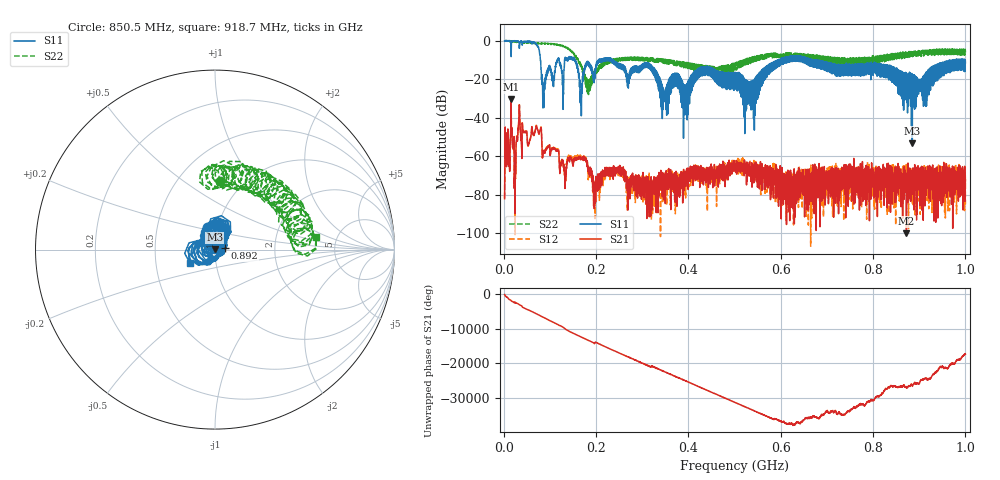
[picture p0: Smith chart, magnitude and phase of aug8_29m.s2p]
!Keysight Technologies N9923A: A.12.45
!Date: Friday, 08 August 2025 17:50:59
!Timezone: (UTC+08:00) Kuala Lumpur, Singapore
!Model: N9923A
!Serial: MY61181427
!GPS Latitude:
!GPS Longitude:
!GPS TimeStamp: 0001-01-01 00:00:00Z
!GPS Seconds Since Last Read: 0
!CHECKSUM:0625930024
!Correction: S11(ON U)S21(ON U)S12(ON U)S22(ON U)
!S2P File: Measurements:S11,S21,S12,S22:
# Hz S DB R 50
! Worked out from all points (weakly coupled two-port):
!   4001 points, 2 MHz to 1 GHz, reference 50 ohm
!   highest |S21| = -30.53 dB at 15.97 MHz (marker M1); lowest = -99.9 dB at 872.3 MHz (marker M2)
!   lowest |S11| = -53.3 dB at 885 MHz (marker M3), VSWR 1.00, Z = 49.9 + j0.169 ohm
!   |S11| at or under -10 dB: 155.2 MHz to 205.9 MHz (50.66 MHz wide, 28.1 % of centre); 236.1 MHz to 594.5 MHz (358.5 MHz wide, 86.3 % of centre); 675.7 MHz to 972.5 MHz (296.9 MHz wide, 36 % of centre) (the widest 3 of 95)
!   |S22| runs from -28.0 to 0.1 dB; largest |S21 - S12| = 0.0012
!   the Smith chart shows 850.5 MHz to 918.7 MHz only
!   S11 on the Smith chart (normalised r, x): 850.5 MHz: 0.89, +0.23; 892 MHz: 1.12, +0.02; 918.7 MHz: 0.75, -0.12
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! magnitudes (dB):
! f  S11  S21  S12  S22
! 2 MHz  -0.1  -82.0  -81.7  0.0
! 15.97 MHz  -6.9  -30.5  -30.4  -0.6
! 70.86 MHz  -2.0  -44.2  -43.9  -1.3
! 86.83 MHz  -34.8  -57.7  -57.3  -1.7
! 145.2 MHz  -8.4  -61.1  -60.4  -5.5
! 168.4 MHz  -35.9  -60.8  -60.8  -13.8
! 179.1 MHz  -11.4  -62.9  -63.3  -21.3
! 197.4 MHz  -19.6  -80.5  -73.7  -15.8
! 241.5 MHz  -12.6  -67.6  -67.4  -9.5
! 334.8 MHz  -19.1  -74.1  -73.2  -11.3
! 348.3 MHz  -31.4  -72.2  -70.3  -11.9
! 429.9 MHz  -13.8  -70.9  -69.6  -12.7
! 501 MHz  -16.4  -64.6  -66.4  -15.5
! 538.2 MHz  -23.5  -66.2  -66.5  -11.5
! 667.4 MHz  -10.2  -81.5  -68.8  -8.3
! 833.8 MHz  -18.8  -75.9  -77.3  -8.2
! 850.5 MHz  -17.5  -68.3  -71.7  -8.4
! 872.3 MHz  -16.7  -99.9  -68.8  -8.6
! 885 MHz  -53.3  -71.5  -84.4  -6.0
! 892 MHz  -24.9  -71.3  -70.8  -6.4
! 918.7 MHz  -16.0  -65.0  -75.9  -5.0
! 1 GHz  -11.5  -72.1  -85.0  -6.1
